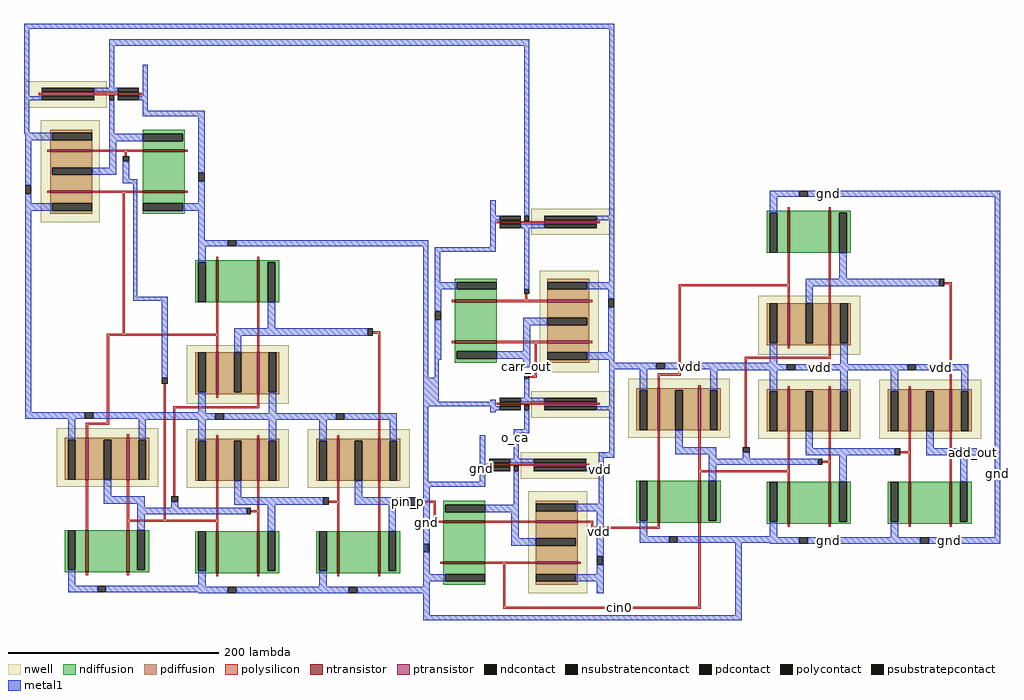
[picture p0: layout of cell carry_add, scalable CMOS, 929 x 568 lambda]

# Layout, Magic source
magic
tech scmos
<< nwell >>
rect 699 227 796 283
rect 575 148 672 204
rect 699 147 796 203
rect 814 147 911 203
rect 473 109 552 134
rect 480 0 536 97
<< ntransistor >>
rect 727 324 729 364
rect 766 324 768 364
rect 443 121 463 123
rect 399 67 439 69
rect 603 67 605 107
rect 642 67 644 107
rect 399 28 439 30
rect 727 66 729 106
rect 766 66 768 106
rect 842 66 844 106
rect 881 66 883 106
<< ptransistor >>
rect 727 236 729 276
rect 766 236 768 276
rect 603 155 605 195
rect 642 155 644 195
rect 485 121 535 123
rect 727 154 729 194
rect 766 154 768 194
rect 842 154 844 194
rect 881 154 883 194
rect 487 67 527 69
rect 487 28 527 30
<< ndiffusion >>
rect 707 362 727 364
rect 707 324 710 362
rect 717 324 727 362
rect 729 324 766 364
rect 768 362 787 364
rect 768 324 776 362
rect 783 324 787 362
rect 443 123 463 124
rect 443 120 463 121
rect 399 84 439 88
rect 399 77 401 84
rect 399 69 439 77
rect 583 69 586 107
rect 593 69 603 107
rect 583 67 603 69
rect 605 67 642 107
rect 644 69 652 107
rect 659 69 663 107
rect 644 67 663 69
rect 707 68 710 106
rect 717 68 727 106
rect 399 30 439 67
rect 399 18 439 28
rect 399 11 401 18
rect 399 8 439 11
rect 707 66 727 68
rect 729 66 766 106
rect 768 68 776 106
rect 783 68 787 106
rect 768 66 787 68
rect 822 68 825 106
rect 832 68 842 106
rect 822 66 842 68
rect 844 66 881 106
rect 883 68 891 106
rect 898 68 902 106
rect 883 66 902 68
<< pdiffusion >>
rect 707 238 710 276
rect 717 238 727 276
rect 707 236 727 238
rect 729 238 744 276
rect 751 238 766 276
rect 729 236 766 238
rect 768 238 777 276
rect 784 238 787 276
rect 768 236 787 238
rect 583 193 603 195
rect 583 155 586 193
rect 593 155 603 193
rect 605 193 642 195
rect 605 155 620 193
rect 627 155 642 193
rect 644 193 663 195
rect 644 155 653 193
rect 660 155 663 193
rect 485 123 535 124
rect 485 120 535 121
rect 707 192 727 194
rect 707 154 710 192
rect 717 154 727 192
rect 729 192 766 194
rect 729 154 744 192
rect 751 154 766 192
rect 768 192 787 194
rect 768 154 777 192
rect 784 154 787 192
rect 822 192 842 194
rect 822 154 825 192
rect 832 154 842 192
rect 844 192 881 194
rect 844 154 859 192
rect 866 154 881 192
rect 883 192 902 194
rect 883 154 892 192
rect 899 154 902 192
rect 487 85 527 88
rect 525 78 527 85
rect 487 69 527 78
rect 487 52 527 67
rect 525 45 527 52
rect 487 30 527 45
rect 487 18 527 28
rect 525 11 527 18
rect 487 8 527 11
<< ndcontact >>
rect 710 324 717 362
rect 776 324 783 362
rect 443 124 463 128
rect 443 116 463 120
rect 401 77 439 84
rect 586 69 593 107
rect 652 69 659 107
rect 710 68 717 106
rect 401 11 439 18
rect 776 68 783 106
rect 825 68 832 106
rect 891 68 898 106
<< pdcontact >>
rect 710 238 717 276
rect 744 238 751 276
rect 777 238 784 276
rect 586 155 593 193
rect 620 155 627 193
rect 653 155 660 193
rect 485 124 535 128
rect 485 116 535 120
rect 710 154 717 192
rect 744 154 751 192
rect 777 154 784 192
rect 825 154 832 192
rect 859 154 866 192
rect 892 154 899 192
rect 487 78 525 85
rect 487 45 525 52
rect 487 11 525 18
<< psubstratepcontact >>
rect 738 377 746 383
rect 380 39 386 47
rect 614 48 622 54
rect 738 47 746 53
rect 853 47 861 53
<< nsubstratencontact >>
rect 602 213 610 219
rect 726 212 734 218
rect 841 212 849 218
rect 545 27 551 35
<< polysilicon >>
rect 727 364 729 367
rect 766 364 768 367
rect 727 294 729 324
rect 623 292 729 294
rect 623 209 625 292
rect 727 276 729 292
rect 766 276 768 324
rect 876 294 883 296
rect 727 233 729 236
rect 766 225 768 236
rect 603 207 625 209
rect 686 223 768 225
rect 603 195 605 207
rect 642 195 644 198
rect 440 121 443 123
rect 463 121 485 123
rect 535 121 538 123
rect 603 107 605 155
rect 642 117 644 155
rect 686 139 688 223
rect 727 194 729 197
rect 766 194 768 197
rect 842 194 844 197
rect 881 194 883 294
rect 727 117 729 154
rect 766 126 768 154
rect 842 135 844 154
rect 834 133 844 135
rect 760 124 768 126
rect 642 115 729 117
rect 642 107 644 115
rect 373 86 392 88
rect 390 69 392 86
rect 390 67 399 69
rect 439 67 487 69
rect 527 67 542 69
rect 727 106 729 115
rect 766 106 768 124
rect 842 106 844 133
rect 881 106 883 154
rect 540 63 542 67
rect 603 63 605 67
rect 540 61 605 63
rect 396 28 399 30
rect 439 28 487 30
rect 527 28 530 30
rect 456 -13 458 28
rect 642 -13 644 67
rect 727 63 729 66
rect 766 63 768 66
rect 842 63 844 66
rect 881 63 883 66
rect 456 -15 644 -13
<< polycontact >>
rect 871 292 876 299
rect 466 116 471 121
rect 684 134 691 139
rect 756 122 760 128
rect 829 131 834 138
rect 368 83 373 91
<< metal1 >>
rect 0 537 562 542
rect 0 486 5 537
rect 81 521 481 527
rect 81 500 86 521
rect 476 375 481 521
rect 557 365 562 537
rect 710 377 738 383
rect 746 377 929 383
rect 710 362 717 377
rect 776 299 783 324
rect 744 292 871 299
rect 744 276 751 292
rect 484 261 489 262
rect 710 219 717 238
rect 475 215 482 219
rect 561 213 602 219
rect 610 218 717 219
rect 777 218 784 238
rect 610 213 726 218
rect 384 178 392 205
rect 586 193 593 213
rect 653 212 726 213
rect 734 212 841 218
rect 849 212 899 218
rect 653 193 660 212
rect 476 156 481 161
rect 466 152 481 156
rect 434 120 439 150
rect 466 128 471 152
rect 557 134 562 168
rect 710 192 717 212
rect 777 192 784 212
rect 547 129 562 134
rect 620 139 627 155
rect 825 192 832 212
rect 892 192 899 212
rect 620 132 659 139
rect 463 124 485 128
rect 434 116 443 120
rect 547 120 552 129
rect 535 116 552 120
rect 434 106 439 116
rect 380 101 439 106
rect 361 83 368 91
rect 380 47 386 101
rect 466 84 471 116
rect 547 85 552 116
rect 652 128 659 132
rect 684 128 691 134
rect 744 138 751 154
rect 859 138 866 154
rect 744 131 829 138
rect 859 131 907 138
rect 652 122 756 128
rect 652 107 659 122
rect 439 77 471 84
rect 525 78 552 85
rect 464 52 471 77
rect 464 45 487 52
rect 380 18 386 39
rect 545 35 552 78
rect 776 106 783 131
rect 891 106 898 131
rect 586 54 593 69
rect 710 54 717 68
rect 586 48 614 54
rect 622 53 717 54
rect 825 53 832 68
rect 924 53 929 377
rect 622 48 738 53
rect 551 27 552 35
rect 545 18 552 27
rect 380 11 401 18
rect 525 11 552 18
rect 380 -21 386 11
rect 545 0 552 11
rect 677 -21 683 48
rect 710 47 738 48
rect 746 47 853 53
rect 861 47 929 53
rect 380 -26 683 -21
use prop_tr1  prop_tr1_0
transform 1 0 -1 0 1 353
box 1 -353 386 153
use or_tr2  or_tr2_0
transform 0 1 391 -1 0 307
box -70 0 147 171
<< labels >>
rlabel metal1 383 67 383 67 3 gnd
rlabel metal1 435 119 435 119 3 gnd
rlabel metal1 468 148 468 148 1 o_ca
rlabel metal1 366 87 366 87 1 pin_p
rlabel metal1 478 216 478 216 1 carr_out
rlabel metal1 927 114 927 114 3 gnd
rlabel metal1 766 380 766 380 5 gnd
rlabel metal1 766 50 766 50 1 gnd
rlabel metal1 881 50 881 50 1 gnd
rlabel polysilicon 567 -14 567 -14 1 cin0
rlabel metal1 904 134 904 134 1 add_out
rlabel metal1 549 118 549 118 7 vdd
rlabel metal1 548 59 548 59 7 vdd
rlabel metal1 634 216 634 216 5 vdd
rlabel metal1 873 215 873 215 5 vdd
rlabel metal1 758 215 758 215 5 vdd
<< end >>

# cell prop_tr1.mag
magic
tech scmos
<< polysilicon >>
rect 97 63 99 67
rect 95 -107 97 28
rect 134 -284 136 -154
<< polycontact >>
rect 95 58 101 63
rect 132 -154 138 -148
<< metal1 >>
rect 82 148 87 153
rect 95 41 101 58
rect 95 37 109 41
rect 2 -181 8 12
rect 105 -71 109 37
rect 167 -18 173 12
rect 105 -75 138 -71
rect 132 -148 138 -75
rect 2 -187 44 -181
rect 354 -270 363 -262
use and_tr1  and_tr1_0
transform 0 -1 173 1 0 0
box 0 0 150 172
use xor_tr1  xor_tr1_0
transform 1 0 32 0 1 -352
box 0 -1 354 335
<< labels >>
rlabel polysilicon 96 -68 96 -68 1 p1
rlabel polysilicon 135 -169 135 -169 1 p2
rlabel metal1 359 -266 359 -266 1 pout
rlabel metal1 84 151 84 151 5 gout
<< end >>

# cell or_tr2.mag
magic
tech scmos
<< nwell >>
rect 115 92 140 171
<< ntransistor >>
rect 126 62 128 82
<< ptransistor >>
rect 126 104 128 154
<< ndiffusion >>
rect 125 62 126 82
rect 128 62 129 82
<< pdiffusion >>
rect 125 104 126 154
rect 128 104 129 154
<< ndcontact >>
rect 121 62 125 82
rect 129 62 133 82
<< pdcontact >>
rect 121 104 125 154
rect 129 104 133 154
<< polysilicon >>
rect 126 154 128 157
rect 69 95 102 97
rect 100 90 102 95
rect 22 86 28 88
rect 126 82 128 104
rect 126 59 128 62
<< polycontact >>
rect 18 85 22 90
rect 99 85 103 90
rect 128 85 133 90
<< metal1 >>
rect -36 166 12 171
rect 84 166 140 171
rect 129 154 133 166
rect -70 85 -65 90
rect -19 85 18 90
rect 83 84 89 91
rect 121 90 125 104
rect 103 85 125 90
rect 133 85 147 90
rect 121 82 125 85
rect 129 58 133 62
rect -22 5 -18 55
rect 123 53 135 58
rect -22 0 12 5
rect 125 4 129 53
rect 84 0 129 4
use first  first_0
transform 1 0 -145 0 1 96
box 78 -43 127 75
use nand_tr  nand_tr_0
transform 1 0 0 0 1 100
box 0 -100 97 71
<< labels >>
rlabel metal1 87 88 87 88 1 out_or
rlabel metal1 130 54 130 54 1 gnd
rlabel metal1 131 168 131 168 5 vdd
rlabel metal1 144 87 144 87 7 x_in2
<< end >>

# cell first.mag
magic
tech scmos
<< nwell >>
rect 86 -4 111 75
<< ntransistor >>
rect 98 -34 100 -14
<< ptransistor >>
rect 98 8 100 58
<< ndiffusion >>
rect 97 -34 98 -14
rect 100 -34 101 -14
<< pdiffusion >>
rect 97 8 98 58
rect 100 8 101 58
<< ndcontact >>
rect 93 -34 97 -14
rect 101 -34 105 -14
<< pdcontact >>
rect 93 8 97 58
rect 101 8 105 58
<< polysilicon >>
rect 98 58 100 61
rect 98 -14 100 8
rect 98 -37 100 -34
<< polycontact >>
rect 93 -11 98 -6
<< metal1 >>
rect 86 70 111 75
rect 93 58 97 70
rect 101 -6 105 8
rect 79 -11 93 -6
rect 101 -11 127 -6
rect 101 -14 105 -11
rect 93 -38 97 -34
rect 78 -43 127 -38
<< labels >>
rlabel metal1 96 -42 96 -42 1 gnd
rlabel metal1 95 72 95 72 5 vdd
<< end >>

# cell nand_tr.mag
magic
tech scmos
<< nwell >>
rect 0 0 97 56
<< ntransistor >>
rect 28 -81 30 -41
rect 67 -81 69 -41
<< ptransistor >>
rect 28 7 30 47
rect 67 7 69 47
<< ndiffusion >>
rect 8 -79 11 -41
rect 18 -79 28 -41
rect 8 -81 28 -79
rect 30 -81 67 -41
rect 69 -79 77 -41
rect 84 -79 88 -41
rect 69 -81 88 -79
<< pdiffusion >>
rect 8 45 28 47
rect 8 7 11 45
rect 18 7 28 45
rect 30 45 67 47
rect 30 7 45 45
rect 52 7 67 45
rect 69 45 88 47
rect 69 7 78 45
rect 85 7 88 45
<< ndcontact >>
rect 11 -79 18 -41
rect 77 -79 84 -41
<< pdcontact >>
rect 11 7 18 45
rect 45 7 52 45
rect 78 7 85 45
<< psubstratepcontact >>
rect 39 -100 47 -94
<< nsubstratencontact >>
rect 27 65 35 71
<< polysilicon >>
rect 28 47 30 50
rect 67 47 69 50
rect 28 -41 30 7
rect 67 -41 69 7
rect 28 -84 30 -81
rect 67 -84 69 -81
<< metal1 >>
rect 11 65 27 71
rect 35 65 85 71
rect 11 45 18 65
rect 78 45 85 65
rect 45 -9 52 7
rect 45 -16 84 -9
rect 77 -41 84 -16
rect 11 -94 18 -79
rect 11 -100 39 -94
rect 47 -100 85 -94
<< labels >>
rlabel metal1 67 -97 67 -97 1 gnd
rlabel metal1 59 68 59 68 5 vdd
<< end >>

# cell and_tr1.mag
magic
tech scmos
<< metal1 >>
rect 84 167 110 172
rect 83 86 103 91
rect 101 6 106 55
rect 84 0 106 6
use nand_tr  nand_tr_0
transform 1 0 0 0 1 100
box 0 -100 97 71
use first  first_0
transform 1 0 23 0 1 97
box 78 -43 127 75
<< end >>

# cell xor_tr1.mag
magic
tech scmos
<< nwell >>
rect 124 179 221 235
rect 124 99 221 155
rect 239 99 336 155
<< ntransistor >>
rect 152 276 154 316
rect 191 276 193 316
rect 152 18 154 58
rect 191 18 193 58
rect 267 18 269 58
rect 306 18 308 58
<< ptransistor >>
rect 152 188 154 228
rect 191 188 193 228
rect 152 106 154 146
rect 191 106 193 146
rect 267 106 269 146
rect 306 106 308 146
<< ndiffusion >>
rect 132 314 152 316
rect 132 276 135 314
rect 142 276 152 314
rect 154 276 191 316
rect 193 314 212 316
rect 193 276 201 314
rect 208 276 212 314
rect 132 20 135 58
rect 142 20 152 58
rect 132 18 152 20
rect 154 18 191 58
rect 193 20 201 58
rect 208 20 212 58
rect 193 18 212 20
rect 247 20 250 58
rect 257 20 267 58
rect 247 18 267 20
rect 269 18 306 58
rect 308 20 316 58
rect 323 20 327 58
rect 308 18 327 20
<< pdiffusion >>
rect 132 190 135 228
rect 142 190 152 228
rect 132 188 152 190
rect 154 190 169 228
rect 176 190 191 228
rect 154 188 191 190
rect 193 190 202 228
rect 209 190 212 228
rect 193 188 212 190
rect 132 144 152 146
rect 132 106 135 144
rect 142 106 152 144
rect 154 144 191 146
rect 154 106 169 144
rect 176 106 191 144
rect 193 144 212 146
rect 193 106 202 144
rect 209 106 212 144
rect 247 144 267 146
rect 247 106 250 144
rect 257 106 267 144
rect 269 144 306 146
rect 269 106 284 144
rect 291 106 306 144
rect 308 144 327 146
rect 308 106 317 144
rect 324 106 327 144
<< ndcontact >>
rect 135 276 142 314
rect 201 276 208 314
rect 135 20 142 58
rect 201 20 208 58
rect 250 20 257 58
rect 316 20 323 58
<< pdcontact >>
rect 135 190 142 228
rect 169 190 176 228
rect 202 190 209 228
rect 135 106 142 144
rect 169 106 176 144
rect 202 106 209 144
rect 250 106 257 144
rect 284 106 291 144
rect 317 106 324 144
<< psubstratepcontact >>
rect 163 329 171 335
rect 163 -1 171 5
rect 278 -1 286 5
<< nsubstratencontact >>
rect 151 164 159 170
rect 266 164 274 170
<< polysilicon >>
rect 152 316 154 319
rect 191 316 193 319
rect 152 246 154 276
rect 48 244 154 246
rect 48 161 50 244
rect 152 228 154 244
rect 191 228 193 276
rect 301 246 308 248
rect 152 185 154 188
rect 191 177 193 188
rect 28 159 50 161
rect 111 175 193 177
rect 28 149 30 159
rect 111 91 113 175
rect 152 146 154 149
rect 191 146 193 149
rect 267 146 269 149
rect 306 146 308 246
rect 152 69 154 106
rect 191 78 193 106
rect 267 87 269 106
rect 259 85 269 87
rect 185 76 193 78
rect 69 67 154 69
rect 152 58 154 67
rect 191 58 193 76
rect 267 58 269 85
rect 306 58 308 106
rect 152 15 154 18
rect 191 15 193 18
rect 267 15 269 18
rect 306 15 308 18
<< polycontact >>
rect 296 244 301 251
rect 109 86 116 91
rect 181 74 185 80
rect 254 83 259 90
<< metal1 >>
rect 135 329 163 335
rect 171 329 354 335
rect 135 314 142 329
rect 201 251 208 276
rect 169 244 296 251
rect 169 228 176 244
rect 135 171 142 190
rect 84 170 142 171
rect 202 170 209 190
rect 84 164 151 170
rect 159 164 266 170
rect 274 164 324 170
rect 135 144 142 164
rect 202 144 209 164
rect 250 144 257 164
rect 317 144 324 164
rect 109 80 116 86
rect 169 90 176 106
rect 284 90 291 106
rect 169 83 254 90
rect 284 83 323 90
rect 83 74 181 80
rect 201 58 208 83
rect 316 58 323 83
rect 135 6 142 20
rect 84 5 142 6
rect 250 5 257 20
rect 349 5 354 329
rect 84 0 163 5
rect 135 -1 163 0
rect 171 -1 278 5
rect 286 -1 354 5
use nand_tr  nand_tr_0
transform 1 0 0 0 1 100
box 0 -100 97 71
<< labels >>
rlabel metal1 191 332 191 332 5 gnd
rlabel metal1 191 2 191 2 1 gnd
rlabel metal1 183 167 183 167 5 vdd
rlabel metal1 298 167 298 167 5 vdd
rlabel metal1 306 2 306 2 1 gnd
rlabel metal1 319 86 319 86 1 out
<< end >>
